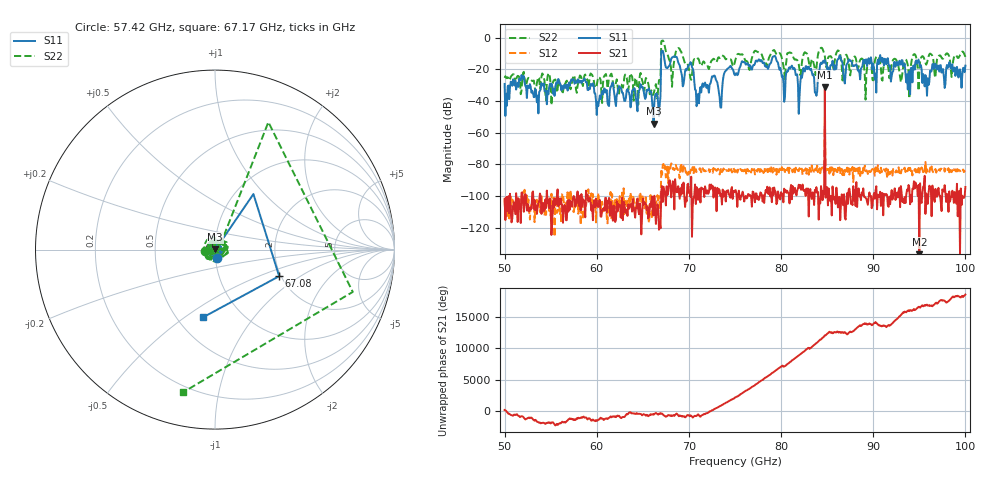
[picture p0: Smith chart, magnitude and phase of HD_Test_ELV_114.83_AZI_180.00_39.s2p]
! 11/25/2026 9:24:24 AM
! C:\ANRITSUVNA\TEMP\TEMP.S2P
! CHANNEL.1
! TR.MEASUREMENT
! RAW.DATA
# HZ S RI R 50.0
! FREQ.HZ  S11RE  S11IM  S21RE  S21IM  S12RE  S12IM  S22RE  S22IM
!; PortSelection: Port_12
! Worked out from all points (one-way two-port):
!   601 points, 50 GHz to 100 GHz, reference 50 ohm
!   highest |S21| = -31.34 dB at 84.75 GHz (marker M1); lowest = -137.0 dB at 95 GHz (marker M2)
!   lowest |S11| = -54.4 dB at 66.17 GHz (marker M3), VSWR 1.00, Z = 50.1 + j0.15 ohm
!   |S11| at or under -10 dB: start of sweep to 67 GHz; 67.24 GHz to end of sweep
!   |S22| runs from -42.6 to -1.8 dB; largest |S21 - S12| = 0.027
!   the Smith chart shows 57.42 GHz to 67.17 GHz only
!   S11 on the Smith chart (normalised r, x): 57.42 GHz: 1.02, -0.10; 67.08 GHz: 1.96, -0.68; 67.17 GHz: 0.67, -0.59
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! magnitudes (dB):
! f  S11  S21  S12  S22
! 50 GHz  -29.2  -101.8  -102.2  -25.4
! 57.42 GHz  -26.3  -101.2  -108.8  -25.2
! 58.42 GHz  -27.2  -106.7  -100.7  -29.0
! 60.17 GHz  -43.2  -107.0  -98.0  -24.8
! 61.67 GHz  -28.7  -112.0  -98.9  -24.5
! 66.17 GHz  -54.4  -112.3  -101.1  -35.4
! 66.67 GHz  -41.9  -106.6  -104.0  -32.1
! 67.08 GHz  -8.2  -93.8  -86.6  -1.9
! 67.17 GHz  -8.4  -103.8  -80.2  -1.8
! 70.17 GHz  -15.4  -100.5  -84.5  -25.7
! 70.92 GHz  -40.6  -95.4  -84.1  -13.3
! 75 GHz  -23.7  -96.5  -85.0  -15.0
! 79.25 GHz  -11.8  -94.6  -83.5  -7.9
! 80.25 GHz  -27.6  -104.1  -82.9  -17.6
! 83.42 GHz  -23.8  -97.8  -83.9  -13.7
! 83.83 GHz  -36.7  -94.4  -85.3  -19.5
! 84.75 GHz  -14.1  -31.3  -56.3  -11.8
! 91.67 GHz  -16.7  -106.9  -86.6  -20.4
! 93.75 GHz  -32.7  -96.8  -84.1  -17.3
! 95 GHz  -16.0  -137.0  -85.3  -21.4
! 95.83 GHz  -36.8  -100.8  -83.1  -15.9
! 100 GHz  -17.7  -94.4  -83.9  -12.2
